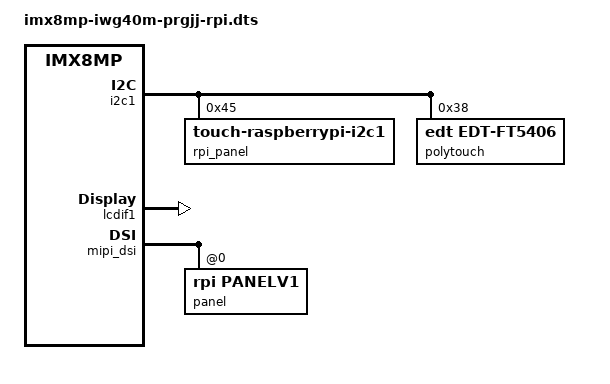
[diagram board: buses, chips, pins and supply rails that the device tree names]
// SPDX-License-Identifier: (GPL-2.0+ OR MIT)
/*
 * Copyright (C) 2022 iWave System Technologies Pvt Ltd. 
 */

/dts-v1/;

#include <dt-bindings/usb/pd.h>
#include "imx8mp-iwg40m-prgjj.dts"

&i2c1 {
	rpi_panel:rpi_panel@45{
                reg=<0x45>;
                compatible="touch-raspberrypi-i2c1";
                status="okay";
        };

        polytouch: edt-ft5x06@38 {
                compatible = "edt,edt-ft5406", "edt,edt-ft5x06";
                reg = <0x38>;
                touchscreen-size-y = <480>;
                touchscreen-size-x = <800>;
                touchscreen-inverted-y = <1>;
                touchscreen-inverted-x = <1>;
                poll-interval = <17>;
        };

};

&lcdif1 { /*LCD Display controller*/
        status = "okay";
};

&mipi_dsi {
	status = "okay";
	fsl,clock-drop-level = <2>;
      
	panel@0 {
		status="disabled";
	};

	panel@1 {
                compatible = "rpi,panelv1";
                reg = <0>;
                dsi-lanes = <1>;
                video-mode = <1>;
                panel-width-mm = <154>;
                panel-height-mm = <86>;
                status = "okay";
        };


};


